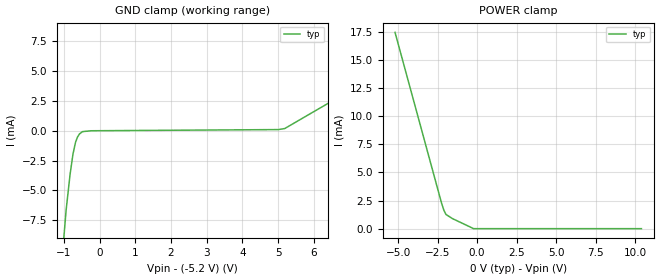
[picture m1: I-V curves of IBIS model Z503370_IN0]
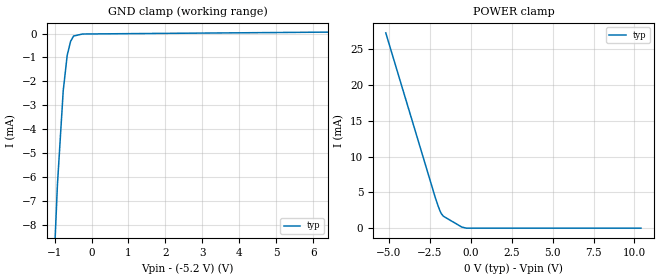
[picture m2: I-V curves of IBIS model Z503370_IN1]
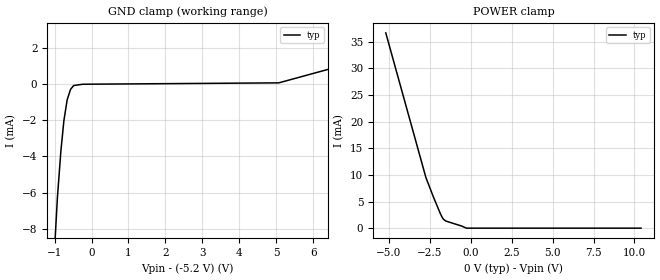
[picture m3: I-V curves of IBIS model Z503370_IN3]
| YOU ARE ONLY AUTHORIZED TO USE THIS SOFTWARE
| ACCORDING TO LICENSOR'S LICENSE RESTRICTIONS.
[IBIS Ver] 3.1
[File Name] mc100e336fn.ibs
[File Rev] 2.0
[Source] Measured and created by ICX Technology
[Date] Friday 7/14/00 9:07:47 AM
[Copyright]
| (C) COPYRIGHT 1993-2000
| MENTOR GRAPHICS CORPORATION
| ICX STANDARD LIBRARY, ICX PROJECT MODELING,
| ICX CUSTOM MODELING, ICX VENDOR MODEL
| ALL RIGHTS RESERVED.
| THE FOLLOWING ARE TRADEMARKS OR SERVICE MARKS OF
| MENTOR GRAPHICS CORPORATION:ICX (R), ICX STANDARD
| LIBRARY(R), ICX PROJECT MODELING(R), ICX CUSTOM
| MODELING(R), qualityIBIS(TM), MODELVIEWER(TM),
| AND MODELEDITOR(TM)
| ALL COPIES OF SOFTWARE, INCLUDING BUT NOT LIMITED TO
| ANY MODIFICATIONS, ENHANCEMENTS OR DERIVATIVE WORKS,
| MUST CONTAIN ALL MENTOR GRAPHICS CORPORATION'S
| NOTICES AND LEGENDS, INCLUDING THOSE EMBEDDED IN
| SOFTWARE AND THOSE AFFIXED TO SOFTWARE MEDIUM
| AND CONTAINER, AS RECEIVED FROM MENTOR GRAPHICS
| CORPORATION.
|  ZAP Model Builder 2.7
[Component] MC100E336FN
[Manufacturer] OnSemiconductor
[Package]
| variable   typ   min   max
R_pkg  .083ohms NA NA
L_pkg  4.299nH NA NA
C_pkg  1.045pF NA NA
[Pin] signal_name  model_name  R_pin  L_pin C_pin
1 VEE POWER .08 3.94n .925p
2 CLK1 Z503370_IN0 .082 4.14n .995p
3 CLK2 Z503370_IN0 .084 4.354n 1.065p
4 A0 Z503370_IN1 .086 4.583n 1.135p
5 B0 Z503370_IN2 .086 4.583n 1.135p
6 A1 Z503370_IN1 .084 4.354n 1.065p
7 B1 Z503370_IN2 .082 4.14n .995p
8 VCCO POWER .08 3.94n .925p
9 _BUS0 Z503370_OUT0 .082 4.14n .995p
10 GND GND .084 4.354n 1.065p
11 Q0 Z503370_OUT1 .086 4.583n 1.135p
12 GND GND .086 4.583n 1.135p
13 _BUS1 Z503370_OUT0 .084 4.354n 1.065p
14 VCCO POWER .082 4.14n .995p
15 Q1 Z503370_OUT1 .08 3.94n .925p
16 VCC POWER .082 4.14n .995p
17 _BUS2 Z503370_OUT0 .084 4.354n 1.065p
18 GND GND .086 4.583n 1.135p
19 Q2 Z503370_OUT0 .086 4.583n 1.135p
20 VCCO POWER .084 4.354n 1.065p
21 NC NC .082 4.14n .995p
22 A2 Z503370_IN1 .08 3.94n .925p
23 B2 Z503370_IN2 .082 4.14n .995p
24 TEN1 Z503370_IN3 .084 4.354n 1.065p
25 TEN2 Z503370_IN3 .086 4.583n 1.135p
26 BUSEN1 Z503370_IN4 .086 4.583n 1.135p
27 BUSEN2 Z503370_IN4 .084 4.354n 1.065p
28 _RXEN Z503370_IN5 .082 4.14n .995p
| Models and submodels in the file (8): Z503370_IN0 (Input_ECL), Z503370_IN1 (Input_ECL), Z503370_IN2 (Input_ECL), Z503370_IN3 (Input_ECL), Z503370_IN4 (Input_ECL), Z503370_IN5 (Input_ECL), Z503370_OUT0 (Output_ECL), Z503370_OUT1 (Output_ECL)
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| (C) COPYRIGHT 1993-2000
| MENTOR GRAPHICS CORPORATION
| ICX STANDARD LIBRARY, ICX PROJECT MODELING,
| ICX CUSTOM MODELING, ICX VENDOR MODEL
| ALL RIGHTS RESERVED.
| THE FOLLOWING ARE TRADEMARKS OR SERVICE MARKS OF
| MENTOR GRAPHICS CORPORATION:ICX (R), ICX STANDARD
| LIBRARY(R), ICX PROJECT MODELING(R), ICX CUSTOM
| MODELING(R), qualityIBIS(TM), MODELVIEWER(TM),
| AND MODELEDITOR(TM)
| ALL COPIES OF SOFTWARE, INCLUDING BUT NOT LIMITED TO
| ANY MODIFICATIONS, ENHANCEMENTS OR DERIVATIVE WORKS,
| MUST CONTAIN ALL MENTOR GRAPHICS CORPORATION'S
| NOTICES AND LEGENDS, INCLUDING THOSE EMBEDDED IN
| SOFTWARE AND THOSE AFFIXED TO SOFTWARE MEDIUM
| AND CONTAINER, AS RECEIVED FROM MENTOR GRAPHICS
| CORPORATION.
| Model Application Version 1.89 2/18/99.
[Model] Z503370_IN0
Model_type Input_ECL
Vinl = -1.475V
Vinh = -1.165V
C_comp 4.000pF NA NA
| variable typ   min   max
[Voltage Range] -5.200V NA NA
[GND Clamp Reference] -5.200V NA NA
[POWER Clamp Reference] 0.000V NA NA
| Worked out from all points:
|   GND clamp passes 1 mA (typ) near -0.68 V on its own axis
[GND Clamp]
-5.2V     -210.2mA   NA         NA
-1.087V   -11.87mA   NA         NA
-942mV    -6.659mA   NA         NA
-830mV    -3.644mA   NA         NA
-749mV    -1.959mA   NA         NA
-678mV    -985.7uA   NA         NA
-623mV    -548uA     NA         NA
-567mV    -285uA     NA         NA
-485mV    -93.22uA   NA         NA
5.011V    78.66uA    NA         NA
5.19V     168.6uA    NA         NA
10.4V     9.169mA    NA         NA
[POWER Clamp]
-5.2V     17.45mA    NA         NA
-2.26V    2.297mA    NA         NA
-2.109V   1.644mA    NA         NA
-1.978V   1.264mA    NA         NA
-1.55V    884uA      NA         NA
-458.9mV  159.1uA    NA         NA
-229.5mV  0A         NA         NA
10.4V     0A         NA         NA
| (C) COPYRIGHT 1993-2000
| MENTOR GRAPHICS CORPORATION
| ICX STANDARD LIBRARY, ICX PROJECT MODELING,
| ICX CUSTOM MODELING, ICX VENDOR MODEL
| ALL RIGHTS RESERVED.
| THE FOLLOWING ARE TRADEMARKS OR SERVICE MARKS OF
| MENTOR GRAPHICS CORPORATION:ICX (R), ICX STANDARD
| LIBRARY(R), ICX PROJECT MODELING(R), ICX CUSTOM
| MODELING(R), qualityIBIS(TM), MODELVIEWER(TM),
| AND MODELEDITOR(TM)
| ALL COPIES OF SOFTWARE, INCLUDING BUT NOT LIMITED TO
| ANY MODIFICATIONS, ENHANCEMENTS OR DERIVATIVE WORKS,
| MUST CONTAIN ALL MENTOR GRAPHICS CORPORATION'S
| NOTICES AND LEGENDS, INCLUDING THOSE EMBEDDED IN
| SOFTWARE AND THOSE AFFIXED TO SOFTWARE MEDIUM
| AND CONTAINER, AS RECEIVED FROM MENTOR GRAPHICS
| CORPORATION.
| Model Application Version 1.89 2/18/99.
[Model] Z503370_IN1
Model_type Input_ECL
Vinl = -1.475V
Vinh = -1.165V
C_comp 4.000pF NA NA
| variable typ   min   max
[Voltage Range] -5.200V NA NA
[GND Clamp Reference] -5.200V NA NA
[POWER Clamp Reference] 0.000V NA NA
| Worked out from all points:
|   GND clamp passes 1 mA (typ) near -0.67 V on its own axis
[GND Clamp]
-5.2V     -221.1mA   NA         NA
-1.084V   -12.15mA   NA         NA
-923mV    -6.332mA   NA         NA
-766mV    -2.395mA   NA         NA
-659mV    -913.1uA   NA         NA
-566mV    -326uA     NA         NA
-485mV    -104.6uA   NA         NA
-242.5mV  -20.47uA   NA         NA
10.4V     105.6uA    NA         NA
[POWER Clamp]
-5.2V     27.3mA     NA         NA
-2.182V   4.34mA     NA         NA
-1.994V   3.06mA     NA         NA
-1.88V    2.381mA    NA         NA
-1.806V   2.033mA    NA         NA
-1.689V   1.698mA    NA         NA
-1.611V   1.575mA    NA         NA
-551mV    152.3uA    NA         NA
-275.5mV  0A         NA         NA
10.4V     0A         NA         NA
| (C) COPYRIGHT 1993-2000
| MENTOR GRAPHICS CORPORATION
| ICX STANDARD LIBRARY, ICX PROJECT MODELING,
| ICX CUSTOM MODELING, ICX VENDOR MODEL
| ALL RIGHTS RESERVED.
| THE FOLLOWING ARE TRADEMARKS OR SERVICE MARKS OF
| MENTOR GRAPHICS CORPORATION:ICX (R), ICX STANDARD
| LIBRARY(R), ICX PROJECT MODELING(R), ICX CUSTOM
| MODELING(R), qualityIBIS(TM), MODELVIEWER(TM),
| AND MODELEDITOR(TM)
| ALL COPIES OF SOFTWARE, INCLUDING BUT NOT LIMITED TO
| ANY MODIFICATIONS, ENHANCEMENTS OR DERIVATIVE WORKS,
| MUST CONTAIN ALL MENTOR GRAPHICS CORPORATION'S
| NOTICES AND LEGENDS, INCLUDING THOSE EMBEDDED IN
| SOFTWARE AND THOSE AFFIXED TO SOFTWARE MEDIUM
| AND CONTAINER, AS RECEIVED FROM MENTOR GRAPHICS
| CORPORATION.
| Model Application Version 1.89 2/18/99.
[Model] Z503370_IN3
Model_type Input_ECL
Vinl = -1.475V
Vinh = -1.165V
C_comp 4.000pF NA NA
| variable typ   min   max
[Voltage Range] -5.200V NA NA
[GND Clamp Reference] -5.200V NA NA
[POWER Clamp Reference] 0.000V NA NA
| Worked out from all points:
|   GND clamp passes 1 mA (typ) near -0.67 V on its own axis
[GND Clamp]
-5.2V     -225.4mA   NA         NA
-1.099V   -12.74mA   NA         NA
-924mV    -6.28mA    NA         NA
-830mV    -3.711mA   NA         NA
-748mV    -2.025mA   NA         NA
-659mV    -871.5uA   NA         NA
-567mV    -299.1uA   NA         NA
-484mV    -93.37uA   NA         NA
-242mV    -19.71uA   NA         NA
5.069V    56.6uA     NA         NA
10.4V     3.022mA    NA         NA
[POWER Clamp]
-5.2V     36.69mA    NA         NA
-2.75V    9.541mA    NA         NA
-2.29V    5.873mA    NA         NA
-1.884V   2.871mA    NA         NA
-1.774V   2.163mA    NA         NA
-1.679V   1.677mA    NA         NA
-1.523V   1.328mA    NA         NA
-544.2mV  379.9uA    NA         NA
-272.1mV  0A         NA         NA
10.4V     0A         NA         NA
